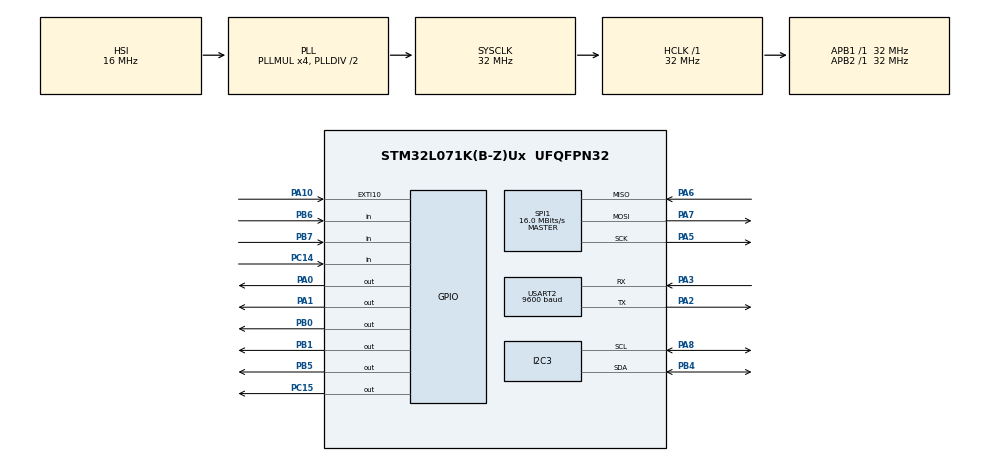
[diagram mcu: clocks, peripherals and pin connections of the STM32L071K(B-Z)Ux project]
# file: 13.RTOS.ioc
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Dma.MEMTOMEM.0.Direction=DMA_MEMORY_TO_MEMORY
Dma.MEMTOMEM.0.Instance=DMA1_Channel1
Dma.MEMTOMEM.0.MemDataAlignment=DMA_MDATAALIGN_BYTE
Dma.MEMTOMEM.0.MemInc=DMA_MINC_ENABLE
Dma.MEMTOMEM.0.Mode=DMA_NORMAL
Dma.MEMTOMEM.0.PeriphDataAlignment=DMA_PDATAALIGN_BYTE
Dma.MEMTOMEM.0.PeriphInc=DMA_PINC_ENABLE
Dma.MEMTOMEM.0.Priority=DMA_PRIORITY_LOW
Dma.Request0=MEMTOMEM
Dma.Request1=USART2_RX
Dma.USART2_RX.1.Direction=DMA_PERIPH_TO_MEMORY
Dma.USART2_RX.1.Instance=DMA1_Channel5
Dma.USART2_RX.1.MemDataAlignment=DMA_MDATAALIGN_BYTE
Dma.USART2_RX.1.MemInc=DMA_MINC_ENABLE
Dma.USART2_RX.1.Mode=DMA_CIRCULAR
Dma.USART2_RX.1.PeriphDataAlignment=DMA_PDATAALIGN_BYTE
Dma.USART2_RX.1.PeriphInc=DMA_PINC_DISABLE
Dma.USART2_RX.1.Priority=DMA_PRIORITY_LOW
FREERTOS.Tasks01=defaultTask,0,128,StartDefaultTask,Default,NULL,Dynamic,NULL,NULL;myTask02,1,128,task_1,Default,NULL,Dynamic,NULL,NULL;myTask03,2,128,task_2,Default,NULL,Dynamic,NULL,NULL
I2C3.I2C_Fall_Time=250
I2C3.I2C_Rise_Time=250
I2C3.Timing=0x00F47CAB
Mcu.Family=STM32L0
Mcu.Name=STM32L071K(B-Z)Ux
Mcu.Package=UFQFPN32
NVIC.DMA1_Channel1_IRQn=true\:3\:0\:false\:false\:true\:true\:true\:true
NVIC.DMA1_Channel4_5_6_7_IRQn=true\:3\:0\:false\:false\:true\:true\:false\:true
NVIC.SPI1_IRQn=true\:3\:0\:false\:false\:true\:true\:true\:true
NVIC.TIM6_IRQn=true\:3\:0\:false\:false\:true\:true\:true\:true
NVIC.USART2_IRQn=true\:3\:0\:false\:false\:true\:true\:true\:true
PA0.Signal=GPIO_Output
PA1.Signal=GPIO_Output
PA10.Signal=GPXTI10
PA13.Mode=Serial_Wire
PA13.Signal=SYS_SWDIO
PA14.Mode=Serial_Wire
PA14.Signal=SYS_SWCLK
PA2.Mode=Asynchronous
PA2.Signal=USART2_TX
PA3.Mode=Asynchronous
PA3.Signal=USART2_RX
PA5.Mode=Full_Duplex_Master
PA5.Signal=SPI1_SCK
PA6.Mode=Full_Duplex_Master
PA6.Signal=SPI1_MISO
PA7.Mode=Full_Duplex_Master
PA7.Signal=SPI1_MOSI
PA8.Mode=I2C
PA8.Signal=I2C3_SCL
PB0.Signal=GPIO_Output
PB1.Signal=GPIO_Output
PB4.Mode=I2C
PB4.Signal=I2C3_SDA
PB5.Signal=GPIO_Output
PB6.Signal=GPIO_Input
PB7.Signal=GPIO_Input
PC14-OSC32_IN.Signal=GPIO_Input
PC15-OSC32_OUT.Signal=GPIO_Output
ProjectManager.HeapSize=0x200
ProjectManager.StackSize=0x400
ProjectManager.TargetToolchain=MDK-ARM V5.27
RCC.AHBFreq_Value=32000000
RCC.APB1Freq_Value=32000000
RCC.APB1TimFreq_Value=32000000
RCC.APB2Freq_Value=32000000
RCC.APB2TimFreq_Value=32000000
RCC.HCLKFreq_Value=32000000
RCC.HSI16_VALUE=16000000
RCC.HSI_VALUE=16000000
RCC.LSE_VALUE=32768
RCC.MSI_VALUE=2097000
RCC.PLLMUL=RCC_PLLMUL_4
RCC.SYSCLKFreq_VALUE=32000000
RCC.SYSCLKSource=RCC_SYSCLKSOURCE_PLLCLK
RCC.VCOOutputFreq_Value=64000000
RTC.Format=RTC_FORMAT_BIN
RTC.SynchPrediv=307
SPI1.CalculateBaudRate=16.0 MBits/s
SPI1.Direction=SPI_DIRECTION_2LINES
SPI1.Mode=SPI_MODE_MASTER
SPI1.VirtualType=VM_MASTER
TIM6.Period=999
TIM6.Prescaler=31
USART2.BaudRate=9600
USART2.VirtualMode-Asynchronous=VM_ASYNC
VP_CRC_VS_CRC.Mode=CRC_Activate
VP_FREERTOS_VS_CMSIS_V1.Mode=CMSIS_V1
VP_RTC_VS_RTC_Activate.Mode=RTC_Enabled
VP_RTC_VS_RTC_Calendar.Mode=RTC_Calendar
VP_TIM6_VS_ClockSourceINT.Mode=Enable_Timer
board=custom

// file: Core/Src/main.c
/* USER CODE BEGIN Header */
/**
  ******************************************************************************
  * @file           : main.c
  * @brief          : Main program body
  ******************************************************************************
  * @attention
  *
  * <h2><center>&copy; Copyright (c) 2022 STMicroelectronics.
  * All rights reserved.</center></h2>
  *
  * This software component is licensed by ST under Ultimate Liberty license
  * SLA0044, the "License"; You may not use this file except in compliance with
  * the License. You may obtain a copy of the License at:
  *                             www.st.com/SLA0044
  *
  ******************************************************************************
  */
/* USER CODE END Header */
#include "main.h"
#include "cmsis_os.h"
#include "crc.h"
#include "dma.h"
#include "i2c.h"
#include "rtc.h"
#include "spi.h"
#include "tim.h"
#include "usart.h"
#include "gpio.h"

/* USER CODE BEGIN Includes */
#include "oled.h"
/* USER CODE END Includes */

void SystemClock_Config(void);
void MX_FREERTOS_Init(void);

int main(void)
{

  /* MCU Configuration--------------------------------------------------------*/

  /* Reset of all peripherals, Initializes the Flash interface and the Systick. */
  HAL_Init();

  /* Configure the system clock */
  SystemClock_Config();

  /* Initialize all configured peripherals */
  MX_GPIO_Init();
  MX_DMA_Init();
  MX_CRC_Init();
  MX_USART2_UART_Init();
  MX_I2C3_Init();
  MX_RTC_Init();
  MX_TIM6_Init();
  MX_SPI1_Init();
  /* USER CODE BEGIN 2 */
	HAL_Delay(100);
	OLED_Init();
	HAL_TIM_Base_Start_IT(&htim6);
  /* USER CODE END 2 */

  /* Call init function for freertos objects (in freertos.c) */
  MX_FREERTOS_Init();
  /* Start scheduler */
  osKernelStart();

  /* We should never get here as control is now taken by the scheduler */
  /* Infinite loop */
  while (1)
  {

  }
}

void SystemClock_Config(void)
{
  RCC_OscInitTypeDef RCC_OscInitStruct = {0};
  RCC_ClkInitTypeDef RCC_ClkInitStruct = {0};
  RCC_PeriphCLKInitTypeDef PeriphClkInit = {0};

  /** Configure the main internal regulator output voltage
  */
  __HAL_PWR_VOLTAGESCALING_CONFIG(PWR_REGULATOR_VOLTAGE_SCALE1);
  /** Initializes the RCC Oscillators according to the specified parameters
  * in the RCC_OscInitTypeDef structure.
  */
  RCC_OscInitStruct.OscillatorType = RCC_OSCILLATORTYPE_HSI|RCC_OSCILLATORTYPE_LSI;
  RCC_OscInitStruct.HSIState = RCC_HSI_ON;
  RCC_OscInitStruct.HSICalibrationValue = RCC_HSICALIBRATION_DEFAULT;
  RCC_OscInitStruct.LSIState = RCC_LSI_ON;
  RCC_OscInitStruct.PLL.PLLState = RCC_PLL_ON;
  RCC_OscInitStruct.PLL.PLLSource = RCC_PLLSOURCE_HSI;
  RCC_OscInitStruct.PLL.PLLMUL = RCC_PLLMUL_4;
  RCC_OscInitStruct.PLL.PLLDIV = RCC_PLLDIV_2;
  if (HAL_RCC_OscConfig(&RCC_OscInitStruct) != HAL_OK)
  {
    Error_Handler();
  }
  /** Initializes the CPU, AHB and APB buses clocks
  */
  RCC_ClkInitStruct.ClockType = RCC_CLOCKTYPE_HCLK|RCC_CLOCKTYPE_SYSCLK
                              |RCC_CLOCKTYPE_PCLK1|RCC_CLOCKTYPE_PCLK2;
  RCC_ClkInitStruct.SYSCLKSource = RCC_SYSCLKSOURCE_PLLCLK;
  RCC_ClkInitStruct.AHBCLKDivider = RCC_SYSCLK_DIV1;
  RCC_ClkInitStruct.APB1CLKDivider = RCC_HCLK_DIV1;
  RCC_ClkInitStruct.APB2CLKDivider = RCC_HCLK_DIV1;

  if (HAL_RCC_ClockConfig(&RCC_ClkInitStruct, FLASH_LATENCY_1) != HAL_OK)
  {
    Error_Handler();
  }
  PeriphClkInit.PeriphClockSelection = RCC_PERIPHCLK_USART2|RCC_PERIPHCLK_I2C3
                              |RCC_PERIPHCLK_RTC;
  PeriphClkInit.Usart2ClockSelection = RCC_USART2CLKSOURCE_PCLK1;
  PeriphClkInit.I2c3ClockSelection = RCC_I2C3CLKSOURCE_PCLK1;
  PeriphClkInit.RTCClockSelection = RCC_RTCCLKSOURCE_LSI;
  if (HAL_RCCEx_PeriphCLKConfig(&PeriphClkInit) != HAL_OK)
  {
    Error_Handler();
  }
}

void Error_Handler(void)
{
  __disable_irq();
  while (1)
  {
  }
}

/************************ (C) COPYRIGHT STMicroelectronics *****END OF FILE****/

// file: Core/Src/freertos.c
/* USER CODE BEGIN Header */
/**
  ******************************************************************************
  * File Name          : freertos.c
  * Description        : Code for freertos applications
  ******************************************************************************
  * @attention
  *
  * <h2><center>&copy; Copyright (c) 2022 STMicroelectronics.
  * All rights reserved.</center></h2>
  *
  * This software component is licensed by ST under Ultimate Liberty license
  * SLA0044, the "License"; You may not use this file except in compliance with
  * the License. You may obtain a copy of the License at:
  *                             www.st.com/SLA0044
  *
  ******************************************************************************
  */
/* USER CODE END Header */

#include "FreeRTOS.h"
#include "task.h"
#include "main.h"
#include "cmsis_os.h"

/* USER CODE BEGIN Includes */
#include "string.h"
#include "stdio.h"
#include "oled.h"
#include "gpio.h"
/* USER CODE END Includes */

/* USER CODE BEGIN PTD */
#include "key.h"
/* USER CODE END PTD */

osThreadId defaultTaskHandle;
osThreadId myTask02Handle;
osThreadId myTask03Handle;

void StartDefaultTask(void const * argument);
void task_1(void const * argument);
void task_2(void const * argument);

void MX_FREERTOS_Init(void); /* (MISRA C 2004 rule 8.1) */

/* GetIdleTaskMemory prototype (linked to static allocation support) */
void vApplicationGetIdleTaskMemory( StaticTask_t **ppxIdleTaskTCBBuffer, StackType_t **ppxIdleTaskStackBuffer, uint32_t *pulIdleTaskStackSize );

/* USER CODE BEGIN GET_IDLE_TASK_MEMORY */
static StaticTask_t xIdleTaskTCBBuffer;
static StackType_t xIdleStack[configMINIMAL_STACK_SIZE];

void vApplicationGetIdleTaskMemory( StaticTask_t **ppxIdleTaskTCBBuffer, StackType_t **ppxIdleTaskStackBuffer, uint32_t *pulIdleTaskStackSize )
{
  *ppxIdleTaskTCBBuffer = &xIdleTaskTCBBuffer;
  *ppxIdleTaskStackBuffer = &xIdleStack[0];
  *pulIdleTaskStackSize = configMINIMAL_STACK_SIZE;
  /* place for user code */
}
/* USER CODE END GET_IDLE_TASK_MEMORY */

void MX_FREERTOS_Init(void) {

  /* Create the thread(s) */
  /* definition and creation of defaultTask */
  osThreadDef(defaultTask, StartDefaultTask, osPriorityNormal, 0, 128);
  defaultTaskHandle = osThreadCreate(osThread(defaultTask), NULL);

  /* definition and creation of myTask02 */
  osThreadDef(myTask02, task_1, osPriorityAboveNormal, 0, 128);
  myTask02Handle = osThreadCreate(osThread(myTask02), NULL);

  /* definition and creation of myTask03 */
  osThreadDef(myTask03, task_2, osPriorityHigh, 0, 128);
  myTask03Handle = osThreadCreate(osThread(myTask03), NULL);

  /* USER CODE BEGIN RTOS_THREADS */
  /* add threads, ... */
//	osDelay(100);
//	OLED_Init();

  /* USER CODE END RTOS_THREADS */

}

/* USER CODE BEGIN Header_StartDefaultTask */
/**
  * @brief  Function implementing the defaultTask thread.
  * @param  argument: Not used
  * @retval None
  */

char lcdLine_1st_line[16];
char lcdLine_2st_line[16];
unsigned int time_10ms=1,time_100ms=1;

/* USER CODE END Header_StartDefaultTask */
void StartDefaultTask(void const * argument)
{
  /* USER CODE BEGIN StartDefaultTask */
  /* Infinite loop */
  for(;;)
  {
		if(time_10ms==1)
		{
			key_scan();
			time_10ms=0;
		}
		if(time_100ms==1)
		{
			OLED_ShowString(0, 0, (unsigned char *)lcdLine_1st_line, 16);
			OLED_ShowString(0, 2, (unsigned char *)lcdLine_2st_line, 16);
			time_100ms=0;
		}
  }
  /* USER CODE END StartDefaultTask */
}

void task_1(void const * argument)
{
  /* USER CODE BEGIN task_1 */
  /* Infinite loop */
	for(;;)
	{
		osDelay(10);
		sprintf(lcdLine_1st_line, "GXCT IOT");
		sprintf(lcdLine_2st_line, "key:%d     %d",KEY_flag,time_100ms);
		osDelay(1000);
		HAL_GPIO_TogglePin(GPIOC, GPIO_PIN_15);
	}
  /* USER CODE END task_1 */
}

void task_2(void const * argument)
{
	while(1)
	{
		osDelay(1);
	}
}

/* USER CODE BEGIN Application */
void HAL_TIM_PeriodElapsedCallback(TIM_HandleTypeDef *htim)
{
	static unsigned int a=0,b=0;
	a++;b++;
	if(a==10)
	{
		time_10ms=!time_10ms;
		a=0;
	}
	if(b==100)
	{
		time_100ms=!time_100ms;
		b=0;
	}
}
/* USER CODE END Application */

/************************ (C) COPYRIGHT STMicroelectronics *****END OF FILE****/
